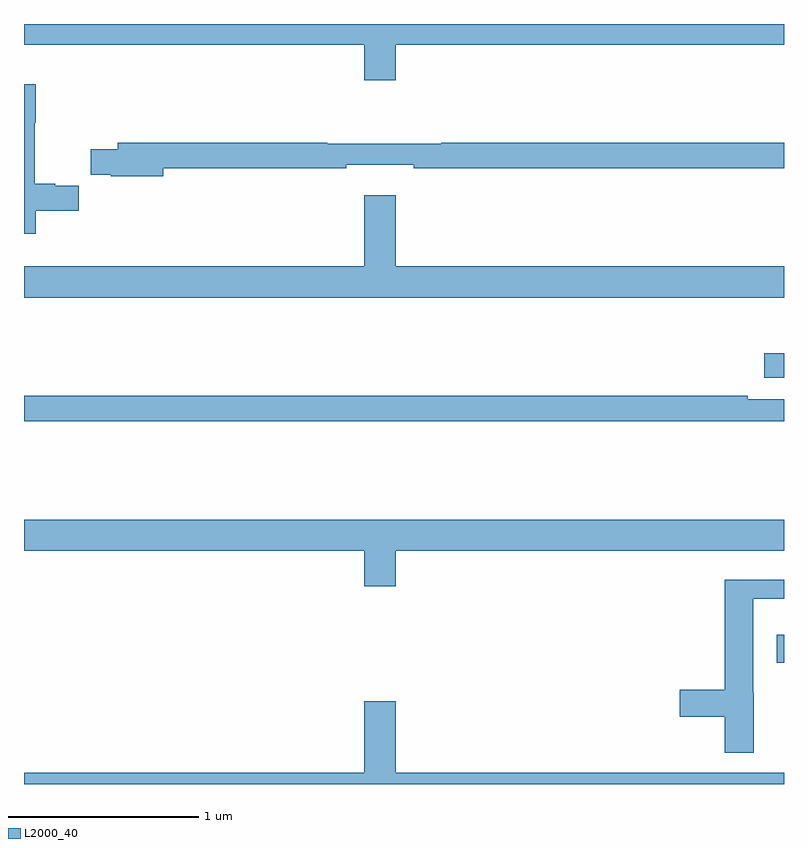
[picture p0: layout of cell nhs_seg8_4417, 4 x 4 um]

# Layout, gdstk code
import gdstk
lib = gdstk.Library(unit=1e-6, precision=1e-09)
def R(c, l, rs):  # rectangles x0, y0, x1, y1
    for r in rs: c.add(gdstk.rectangle(r[:2], r[2:], *l))
def P(c, l, *ps):  # polygons
    for p in ps: c.add(gdstk.Polygon(p, *l))
L2000_40 = (2000, 40)

nhs_seg8_4417 = lib.new_cell('nhs_seg8_4417')
R(nhs_seg8_4417, L2000_40, [(382.962,1154.539,383,1154.686), (382.896,1156.037,383,1156.167)])
P(nhs_seg8_4417, L2000_40, [(380.956,1157.792),(383,1157.792),(383,1157.9),(379,1157.9),(379,1157.792),(380.792,1157.792),(380.792,1157.604),(380.956,1157.604)],
  [(379.061,1156.918),(379.289,1156.918),(379.289,1157.048),(379.164,1157.048),(379.164,1157.06),(379.056,1157.06),(379.056,1157.38),(379.061,1157.38),(379.061,1157.583),(379,1157.583),(379,1156.796),(379.061,1156.796)],
  [(379.732,1157.14),(380.696,1157.14),(380.696,1157.159),(381.052,1157.159),(381.052,1157.14),(383,1157.14),(383,1157.276),(381.197,1157.276),(381.197,1157.269),(380.597,1157.269),(380.597,1157.276),(379.493,1157.276),(379.493,1157.24),(379.351,1157.24),(379.351,1157.106),(379.456,1157.106),(379.456,1157.098),(379.732,1157.098)],
  [(383,1156.624),(380.956,1156.624),(380.956,1156.999),(380.792,1156.999),(380.792,1156.624),(379,1156.624),(379,1156.46),(383,1156.46)],
  [(383,1155.924),(382.808,1155.924),(382.808,1155.944),(379,1155.944),(379,1155.808),(383,1155.808)],
  [(380.956,1155.128),(383,1155.128),(383,1155.292),(379,1155.292),(379,1155.128),(380.792,1155.128),(380.792,1154.94),(380.956,1154.94)],
  [(382.84,1154.379),(382.837,1154.379),(382.837,1154.876),(383,1154.876),(383,1154.974),(382.688,1154.974),(382.688,1154.396),(382.452,1154.396),(382.452,1154.254),(382.688,1154.254),(382.688,1154.064),(382.84,1154.064)],
  [(383,1153.96),(380.956,1153.96),(380.956,1154.335),(380.792,1154.335),(380.792,1153.96),(379,1153.96),(379,1153.9),(383,1153.9)])

lib.write_gds('nhs_seg8_4417.gds')
